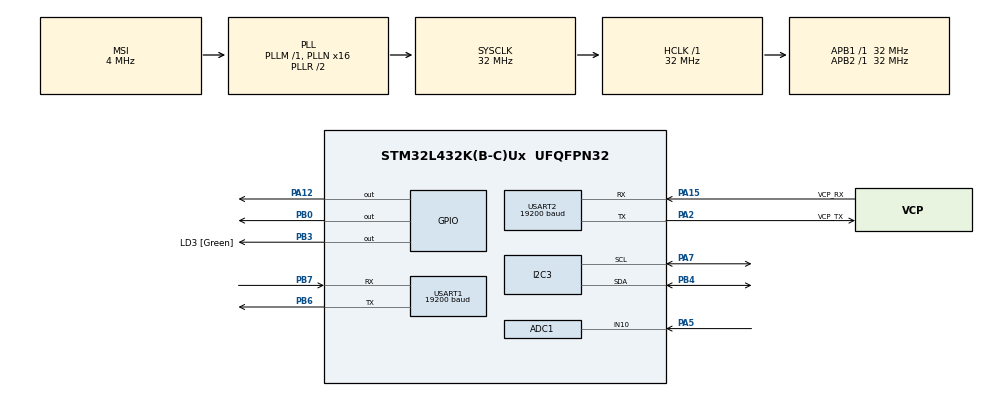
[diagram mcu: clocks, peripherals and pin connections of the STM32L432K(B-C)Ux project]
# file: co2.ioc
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ADC1.Channel-0\#ChannelRegularConversion=ADC_CHANNEL_10
ADC1.NbrOfConversionFlag=1
ADC1.OffsetNumber-0\#ChannelRegularConversion=ADC_OFFSET_NONE
ADC1.Rank-0\#ChannelRegularConversion=1
ADC1.SamplingTime-0\#ChannelRegularConversion=ADC_SAMPLETIME_2CYCLES_5
ADC1.master=1
Dma.Request0=USART1_RX
Dma.USART1_RX.0.Direction=DMA_PERIPH_TO_MEMORY
Dma.USART1_RX.0.Instance=DMA1_Channel5
Dma.USART1_RX.0.MemDataAlignment=DMA_MDATAALIGN_BYTE
Dma.USART1_RX.0.MemInc=DMA_MINC_ENABLE
Dma.USART1_RX.0.Mode=DMA_CIRCULAR
Dma.USART1_RX.0.PeriphDataAlignment=DMA_PDATAALIGN_BYTE
Dma.USART1_RX.0.PeriphInc=DMA_PINC_DISABLE
Dma.USART1_RX.0.Priority=DMA_PRIORITY_LOW
I2C3.Timing=0x00707CBB
Mcu.Family=STM32L4
Mcu.Name=STM32L432K(B-C)Ux
Mcu.Package=UFQFPN32
NVIC.DMA1_Channel5_IRQn=true\:0\:0\:false\:false\:true\:false\:true\:true
NVIC.PriorityGroup=NVIC_PRIORITYGROUP_4
NVIC.USART1_IRQn=true\:0\:0\:false\:false\:true\:true\:true\:true
PA0.GPIO_Label=MCO [High speed clock in]
PA0.Mode=HSE-External-Clock-Source-for-LittleOrca
PA0.Signal=RCC_CK_IN
PA12.Signal=GPIO_Output
PA13\ (JTMS-SWDIO).GPIO_Label=SWDIO
PA13\ (JTMS-SWDIO).Mode=Serial_Wire
PA13\ (JTMS-SWDIO).Signal=SYS_JTMS-SWDIO
PA14\ (JTCK-SWCLK).GPIO_Label=SWCLK
PA14\ (JTCK-SWCLK).Mode=Serial_Wire
PA14\ (JTCK-SWCLK).Signal=SYS_JTCK-SWCLK
PA15\ (JTDI).GPIO_Label=VCP_RX
PA15\ (JTDI).Mode=Asynchronous
PA15\ (JTDI).Signal=USART2_RX
PA2.GPIO_Label=VCP_TX
PA2.Mode=Asynchronous
PA2.Signal=USART2_TX
PA5.Signal=ADCx_IN10
PA7.GPIO_Pu=GPIO_NOPULL
PA7.Mode=I2C
PA7.Signal=I2C3_SCL
PB0.Signal=GPIO_Output
PB3\ (JTDO-TRACESWO).GPIO_Label=LD3 [Green]
PB3\ (JTDO-TRACESWO).Signal=GPIO_Output
PB4\ (NJTRST).GPIO_Pu=GPIO_NOPULL
PB4\ (NJTRST).Mode=I2C
PB4\ (NJTRST).Signal=I2C3_SDA
PB6.Mode=Asynchronous
PB6.Signal=USART1_TX
PB7.Mode=Asynchronous
PB7.Signal=USART1_RX
PC14-OSC32_IN\ (PC14).Mode=LSE-External-Oscillator
PC14-OSC32_IN\ (PC14).Signal=RCC_OSC32_IN
PC15-OSC32_OUT\ (PC15).Mode=LSE-External-Oscillator
PC15-OSC32_OUT\ (PC15).Signal=RCC_OSC32_OUT
ProjectManager.HeapSize=0x200
ProjectManager.StackSize=0x400
ProjectManager.TargetToolchain=STM32CubeIDE
RCC.ADCFreq_Value=32000000
RCC.AHBFreq_Value=32000000
RCC.APB1Freq_Value=32000000
RCC.APB1TimFreq_Value=32000000
RCC.APB2Freq_Value=32000000
RCC.APB2TimFreq_Value=32000000
RCC.CortexFreq_Value=32000000
RCC.HCLKFreq_Value=32000000
RCC.HSE_VALUE=8000000
RCC.HSI16_VALUE=16000000
RCC.HSI48_VALUE=48000000
RCC.HSI_VALUE=16000000
RCC.MSI_VALUE=4000000
RCC.PLLMUL=RCC_PLLMUL_4
RCC.PLLN=16
RCC.PLLSAI1N=16
RCC.SYSCLKFreq_VALUE=32000000
RCC.SYSCLKSource=RCC_SYSCLKSOURCE_PLLCLK
RCC.USBFreq_Value=32000000
RCC.VCOOutputFreq_Value=64000000
SH.ADCx_IN10.0=ADC1_IN10,IN10-Single-Ended
USART1.BaudRate=19200
USART1.Parity=PARITY_NONE
USART1.VirtualMode-Asynchronous=VM_ASYNC
USART2.BaudRate=19200
USART2.VirtualMode-Asynchronous=VM_ASYNC
board=NUCLEO-L432KC

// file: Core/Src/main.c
/* USER CODE BEGIN Header */
/**
 ******************************************************************************
 * @file           : main.c
 * @brief          : Main program body
 ******************************************************************************
 * @attention
 *
 * Copyright (c) 2025 STMicroelectronics.
 * All rights reserved.
 *
 * This software is licensed under terms that can be found in the LICENSE file
 * in the root directory of this software component.
 * If no LICENSE file comes with this software, it is provided AS-IS.
 *
 ******************************************************************************
 */
/* USER CODE END Header */
#include "main.h"

/* USER CODE BEGIN Includes */
#include "stm32l4xx_hal.h"
#include "procflow.h"
#include "sgp30.h"
#include "sht3x.h"
#include "stm32_tm1637.h"
/* USER CODE END Includes */

/* USER CODE BEGIN PD */

/// SGP30 commands
#define SGP30_ADDRESS  (0x58 << 1)
#define CMD_INIT_AIR_QUALITY  {0x20, 0x03}   // Starten van metingen
#define CMD_MEASURE_AIR_QUALITY {0x20, 0x08} // Metingen uitvoeren
#define CMD_GET_FEATURES  {0x20, 0x2F} // Check of sensor bereikbaar is, info ophalen
/* USER CODE END PD */

ADC_HandleTypeDef hadc1;

I2C_HandleTypeDef hi2c3;

UART_HandleTypeDef huart1;
UART_HandleTypeDef huart2;
DMA_HandleTypeDef hdma_usart1_rx;

/* USER CODE BEGIN PV */
sht3x_handle_t sht3x1;

const uint8_t device_id = 0x21;
uint8_t uart_rx_buffer[uart_buff_size] = {0};   // this line is around 31% of memory
                                                // I think some of the code must also be in memory

uint8_t **uart_pdu_ptr[128] = {0};
uint8_t *uart_fast_pdu = 0;
int uart_pdu_wrinting_point = 0;
int uart_current_pdu = 0;

int sensor_value = 0;

/* USER CODE END PV */

void SystemClock_Config(void);
static void MX_GPIO_Init(void);
static void MX_DMA_Init(void);
static void MX_USART2_UART_Init(void);
static void MX_USART1_UART_Init(void);
static void MX_ADC1_Init(void);
static void MX_I2C3_Init(void);
/* USER CODE BEGIN PFP */
bool MX_sht3x_init();

/* USER CODE END PFP */

/* USER CODE BEGIN 0 */

// Init voor de SGP30 Sensor
void SGP30_Init(void) {
	uint8_t command[] = CMD_INIT_AIR_QUALITY;
	HAL_I2C_Master_Transmit(&hi2c3, SGP30_ADDRESS, command, sizeof(command), 100);
}

// Aflezen waarden CO2 sensor
uint16_t SGP30_ReadCO2(void) {
	uint8_t command[] = CMD_MEASURE_AIR_QUALITY;
	uint8_t buffer[6];  // Data buffer (CO₂eq, TVOC)

	HAL_I2C_Master_Transmit(&hi2c3, SGP30_ADDRESS, command, sizeof(command), 100);
	HAL_Delay(12);
	HAL_I2C_Master_Receive(&hi2c3, SGP30_ADDRESS, buffer, sizeof(buffer), 100);

	uint16_t co2_value = (buffer[0] << 8) | buffer[1];  // Omzetten bytes naar enkele 16-bit waarden
	return co2_value;
}

void UART_Print(const char *str) {
	HAL_UART_Transmit(&huart2, (uint8_t*)str, strlen(str), HAL_MAX_DELAY);
}

uint8_t SGP30_CheckConnection(void) {
	uint8_t command[] = CMD_GET_FEATURES;
	uint8_t response[3] = {0};
	HAL_StatusTypeDef status =  HAL_I2C_Master_Transmit(&hi2c3, SGP30_ADDRESS, command, sizeof(command), 100);
	if ( status != HAL_OK) {
		return 0;  // Sensor reageert niet
	}

	if (HAL_I2C_Master_Receive(&hi2c3, SGP30_ADDRESS, response, sizeof(response), 100) != HAL_OK) {
		return 0;  // Geen respons ontvangen
	}

	return 1;  // Sensor OK

}

/* USER CODE END 0 */

int main(void)
{

  /* MCU Configuration--------------------------------------------------------*/

  /* Reset of all peripherals, Initializes the Flash interface and the Systick. */
  HAL_Init();

  /* Configure the system clock */
  SystemClock_Config();

  /* Initialize all configured peripherals */
  MX_GPIO_Init();
  MX_DMA_Init();
  MX_USART2_UART_Init();
  MX_USART1_UART_Init();
  MX_ADC1_Init();
  MX_I2C3_Init();
  /* USER CODE BEGIN 2 */
	// Als sensor niet gevonden, stop
  uart_init_configuration(&huart1);

  MX_sht3x_init();
  tm1637Init();
  HAL_UART_Receive_DMA(&huart1, uart_rx_buffer, uart_buff_size);

	// Als sensor gevonden, print en wacht 15 sec voor stabielere meetwaarden
	SGP30_Init();

  /* USER CODE END 2 */

  /* Infinite loop */
  /* USER CODE BEGIN WHILE */
	long int loopcounter = 0;
	while (1)
	{

		if (hdma_usart1_rx.State == HAL_DMA_STATE_READY) {
			HAL_UART_Receive_DMA(&huart1, uart_rx_buffer, uart_buff_size);
		}

		while (uart_current_pdu  != uart_pdu_wrinting_point) {
			procflow_handle_pdu(uart_current_pdu, &huart1, &huart2);

			uart_current_pdu++;
			if (uart_current_pdu == 127) {
				uart_current_pdu = 0;
			}

		}
    /* USER CODE END WHILE */

    /* USER CODE BEGIN 3 */
		sensor_value = SGP30_ReadCO2();
		procflow_register_u64(co2, sensor_value);
		HAL_Delay(1);
		loopcounter++;

		float temperature, humidity = 0;
		bool success = sht3x_read_temperature_and_humidity(&sht3x1, &temperature, &humidity);

		if (success) {
			procflow_register_float(temp, temperature);
			procflow_register_float(hum, humidity);
		}
		HAL_Delay(2);
	}
  /* USER CODE END 3 */
}

void SystemClock_Config(void)
{
  RCC_OscInitTypeDef RCC_OscInitStruct = {0};
  RCC_ClkInitTypeDef RCC_ClkInitStruct = {0};

  /** Configure the main internal regulator output voltage
  */
  if (HAL_PWREx_ControlVoltageScaling(PWR_REGULATOR_VOLTAGE_SCALE1) != HAL_OK)
  {
    Error_Handler();
  }

  /** Configure LSE Drive Capability
  */
  HAL_PWR_EnableBkUpAccess();
  __HAL_RCC_LSEDRIVE_CONFIG(RCC_LSEDRIVE_LOW);

  /** Initializes the RCC Oscillators according to the specified parameters
  * in the RCC_OscInitTypeDef structure.
  */
  RCC_OscInitStruct.OscillatorType = RCC_OSCILLATORTYPE_LSE|RCC_OSCILLATORTYPE_MSI;
  RCC_OscInitStruct.LSEState = RCC_LSE_ON;
  RCC_OscInitStruct.MSIState = RCC_MSI_ON;
  RCC_OscInitStruct.MSICalibrationValue = 0;
  RCC_OscInitStruct.MSIClockRange = RCC_MSIRANGE_6;
  RCC_OscInitStruct.PLL.PLLState = RCC_PLL_ON;
  RCC_OscInitStruct.PLL.PLLSource = RCC_PLLSOURCE_MSI;
  RCC_OscInitStruct.PLL.PLLM = 1;
  RCC_OscInitStruct.PLL.PLLN = 16;
  RCC_OscInitStruct.PLL.PLLP = RCC_PLLP_DIV7;
  RCC_OscInitStruct.PLL.PLLQ = RCC_PLLQ_DIV2;
  RCC_OscInitStruct.PLL.PLLR = RCC_PLLR_DIV2;
  if (HAL_RCC_OscConfig(&RCC_OscInitStruct) != HAL_OK)
  {
    Error_Handler();
  }

  /** Initializes the CPU, AHB and APB buses clocks
  */
  RCC_ClkInitStruct.ClockType = RCC_CLOCKTYPE_HCLK|RCC_CLOCKTYPE_SYSCLK
                              |RCC_CLOCKTYPE_PCLK1|RCC_CLOCKTYPE_PCLK2;
  RCC_ClkInitStruct.SYSCLKSource = RCC_SYSCLKSOURCE_PLLCLK;
  RCC_ClkInitStruct.AHBCLKDivider = RCC_SYSCLK_DIV1;
  RCC_ClkInitStruct.APB1CLKDivider = RCC_HCLK_DIV1;
  RCC_ClkInitStruct.APB2CLKDivider = RCC_HCLK_DIV1;

  if (HAL_RCC_ClockConfig(&RCC_ClkInitStruct, FLASH_LATENCY_1) != HAL_OK)
  {
    Error_Handler();
  }

  /** Enable MSI Auto calibration
  */
  HAL_RCCEx_EnableMSIPLLMode();
}

static void MX_ADC1_Init(void)
{

  ADC_ChannelConfTypeDef sConfig = {0};

  /** Common config
  */
  hadc1.Instance = ADC1;
  hadc1.Init.ClockPrescaler = ADC_CLOCK_ASYNC_DIV1;
  hadc1.Init.Resolution = ADC_RESOLUTION_12B;
  hadc1.Init.DataAlign = ADC_DATAALIGN_RIGHT;
  hadc1.Init.ScanConvMode = ADC_SCAN_DISABLE;
  hadc1.Init.EOCSelection = ADC_EOC_SINGLE_CONV;
  hadc1.Init.LowPowerAutoWait = DISABLE;
  hadc1.Init.ContinuousConvMode = DISABLE;
  hadc1.Init.NbrOfConversion = 1;
  hadc1.Init.DiscontinuousConvMode = DISABLE;
  hadc1.Init.ExternalTrigConv = ADC_SOFTWARE_START;
  hadc1.Init.ExternalTrigConvEdge = ADC_EXTERNALTRIGCONVEDGE_NONE;
  hadc1.Init.DMAContinuousRequests = DISABLE;
  hadc1.Init.Overrun = ADC_OVR_DATA_PRESERVED;
  hadc1.Init.OversamplingMode = DISABLE;
  if (HAL_ADC_Init(&hadc1) != HAL_OK)
  {
    Error_Handler();
  }

  /** Configure Regular Channel
  */
  sConfig.Channel = ADC_CHANNEL_10;
  sConfig.Rank = ADC_REGULAR_RANK_1;
  sConfig.SamplingTime = ADC_SAMPLETIME_2CYCLES_5;
  sConfig.SingleDiff = ADC_SINGLE_ENDED;
  sConfig.OffsetNumber = ADC_OFFSET_NONE;
  sConfig.Offset = 0;
  if (HAL_ADC_ConfigChannel(&hadc1, &sConfig) != HAL_OK)
  {
    Error_Handler();
  }

}

static void MX_I2C3_Init(void)
{

  hi2c3.Instance = I2C3;
  hi2c3.Init.Timing = 0x00707CBB;
  hi2c3.Init.OwnAddress1 = 0;
  hi2c3.Init.AddressingMode = I2C_ADDRESSINGMODE_7BIT;
  hi2c3.Init.DualAddressMode = I2C_DUALADDRESS_DISABLE;
  hi2c3.Init.OwnAddress2 = 0;
  hi2c3.Init.OwnAddress2Masks = I2C_OA2_NOMASK;
  hi2c3.Init.GeneralCallMode = I2C_GENERALCALL_DISABLE;
  hi2c3.Init.NoStretchMode = I2C_NOSTRETCH_DISABLE;
  if (HAL_I2C_Init(&hi2c3) != HAL_OK)
  {
    Error_Handler();
  }

  /** Configure Analogue filter
  */
  if (HAL_I2CEx_ConfigAnalogFilter(&hi2c3, I2C_ANALOGFILTER_ENABLE) != HAL_OK)
  {
    Error_Handler();
  }

  /** Configure Digital filter
  */
  if (HAL_I2CEx_ConfigDigitalFilter(&hi2c3, 0) != HAL_OK)
  {
    Error_Handler();
  }

}

static void MX_USART1_UART_Init(void)
{

  huart1.Instance = USART1;
  huart1.Init.BaudRate = 19200;
  huart1.Init.WordLength = UART_WORDLENGTH_8B;
  huart1.Init.StopBits = UART_STOPBITS_1;
  huart1.Init.Parity = UART_PARITY_NONE;
  huart1.Init.Mode = UART_MODE_TX_RX;
  huart1.Init.HwFlowCtl = UART_HWCONTROL_NONE;
  huart1.Init.OverSampling = UART_OVERSAMPLING_16;
  huart1.Init.OneBitSampling = UART_ONE_BIT_SAMPLE_DISABLE;
  huart1.AdvancedInit.AdvFeatureInit = UART_ADVFEATURE_NO_INIT;
  if (HAL_UART_Init(&huart1) != HAL_OK)
  {
    Error_Handler();
  }

}

static void MX_USART2_UART_Init(void)
{

  huart2.Instance = USART2;
  huart2.Init.BaudRate = 19200;
  huart2.Init.WordLength = UART_WORDLENGTH_8B;
  huart2.Init.StopBits = UART_STOPBITS_1;
  huart2.Init.Parity = UART_PARITY_NONE;
  huart2.Init.Mode = UART_MODE_TX_RX;
  huart2.Init.HwFlowCtl = UART_HWCONTROL_NONE;
  huart2.Init.OverSampling = UART_OVERSAMPLING_16;
  huart2.Init.OneBitSampling = UART_ONE_BIT_SAMPLE_DISABLE;
  huart2.AdvancedInit.AdvFeatureInit = UART_ADVFEATURE_NO_INIT;
  if (HAL_UART_Init(&huart2) != HAL_OK)
  {
    Error_Handler();
  }

}

static void MX_DMA_Init(void)
{

  /* DMA controller clock enable */
  __HAL_RCC_DMA1_CLK_ENABLE();

  /* DMA interrupt init */
  /* DMA1_Channel5_IRQn interrupt configuration */
  HAL_NVIC_SetPriority(DMA1_Channel5_IRQn, 0, 0);
  HAL_NVIC_EnableIRQ(DMA1_Channel5_IRQn);

}

static void MX_GPIO_Init(void)
{
  GPIO_InitTypeDef GPIO_InitStruct = {0};

  /* GPIO Ports Clock Enable */
  __HAL_RCC_GPIOC_CLK_ENABLE();
  __HAL_RCC_GPIOA_CLK_ENABLE();
  __HAL_RCC_GPIOB_CLK_ENABLE();

  /*Configure GPIO pin Output Level */
  HAL_GPIO_WritePin(GPIOB, GPIO_PIN_0|LD3_Pin, GPIO_PIN_RESET);

  /*Configure GPIO pin Output Level */
  HAL_GPIO_WritePin(GPIOA, GPIO_PIN_12, GPIO_PIN_RESET);

  /*Configure GPIO pins : PB0 LD3_Pin */
  GPIO_InitStruct.Pin = GPIO_PIN_0|LD3_Pin;
  GPIO_InitStruct.Mode = GPIO_MODE_OUTPUT_PP;
  GPIO_InitStruct.Pull = GPIO_NOPULL;
  GPIO_InitStruct.Speed = GPIO_SPEED_FREQ_LOW;
  HAL_GPIO_Init(GPIOB, &GPIO_InitStruct);

  /*Configure GPIO pin : PA12 */
  GPIO_InitStruct.Pin = GPIO_PIN_12;
  GPIO_InitStruct.Mode = GPIO_MODE_OUTPUT_PP;
  GPIO_InitStruct.Pull = GPIO_NOPULL;
  GPIO_InitStruct.Speed = GPIO_SPEED_FREQ_LOW;
  HAL_GPIO_Init(GPIOA, &GPIO_InitStruct);

}

/* USER CODE BEGIN 4 */

bool MX_sht3x_init() {
	sht3x1.i2c_handle = &hi2c3;
	sht3x1.device_address = 0x44;
	//sht3x1.device_address = ;

	return sht3x_init(&sht3x1);

}

/*void parse_pdu() {
    char key[20];
    char value[20];

    if (sscanf((char *)rxDataBuff, "%19[^=]=%19[^\n]", key, value) == 2) {
        int size = strlen(key) + strlen(value) + 2;  // Key=Value + newline
        busRxReadPtr += size;
        if (busRxReadPtr >= rxDataBuff + uart_buff_size) {
            busRxReadPtr = rxDataBuff;
        }

        if (strcmp(key, "ENCODERRPM") == 0) {
            rpm = atof(value) * 100;
        }
    }
}*/

void HAL_UART_RxCpltCallback(UART_HandleTypeDef *huart) {
	//parse_pdu();
	//memset(rxDataBuff, 0, 50);
}
/* USER CODE END 4 */

void Error_Handler(void)
{
	__disable_irq();
	while (1)
	{
	}
}
